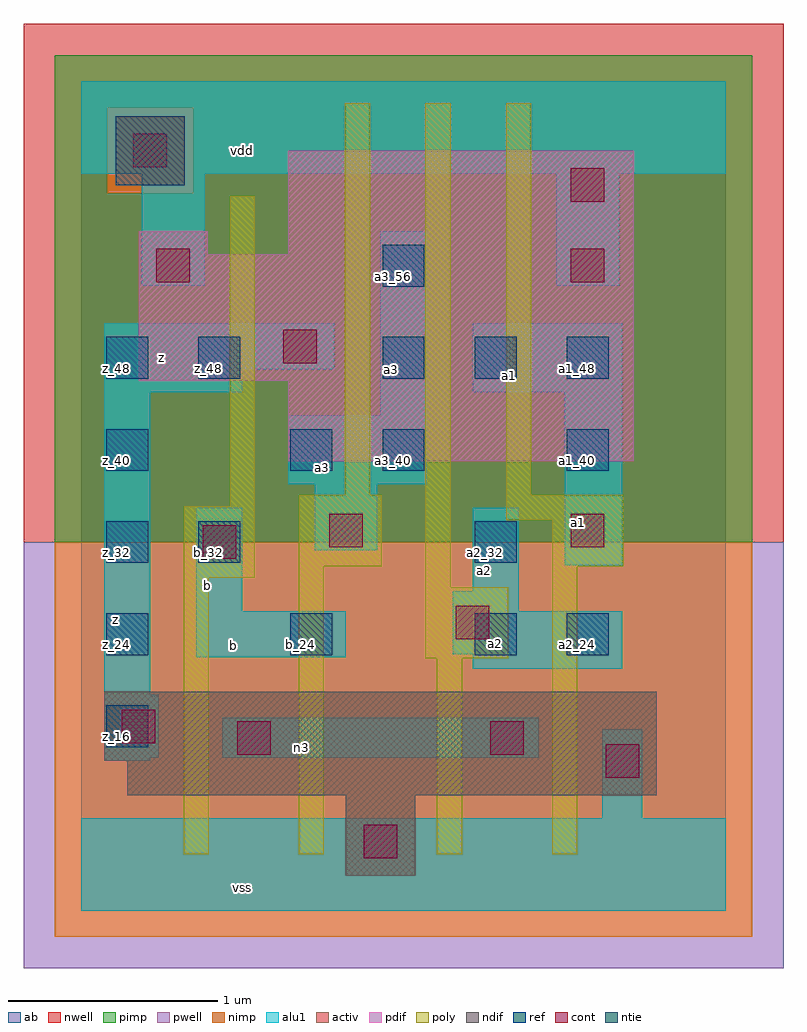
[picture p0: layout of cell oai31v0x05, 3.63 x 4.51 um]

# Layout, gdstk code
import gdstk
lib = gdstk.Library(unit=1e-6, precision=2.5e-09)
def R(c, l, rs):  # rectangles x0, y0, x1, y1
    for r in rs: c.add(gdstk.rectangle(r[:2], r[2:], *l))
def A(c, l, x, y, w, h, nx, ny, dx, dy):  # array of equal rectangles
    R(c, l, [(x+i*dx, y+j*dy, x+i*dx+w, y+j*dy+h) for i in range(nx) for j in range(ny)])
ndif = (3, 0)
pdif = (4, 0)
ntie = (5, 0)
ref = (24, 0)
cont = (25, 0)
pwell = (41, 0)
nwell = (42, 0)
activ = (43, 0)
pimp = (44, 0)
nimp = (45, 0)
poly = (46, 0)
alu1 = (49, 0)
ab = (63, 0)

oai31v0x05 = lib.new_cell('oai31v0x05')
R(oai31v0x05, ndif, [(1.265,0.165,1.595,0.55), (0.22,0.55,2.75,0.715), (0.11,0.715,2.75,1.045)])
R(oai31v0x05, pdif, [(0.99,2.145,2.64,2.53), (0.275,2.53,2.64,3.135), (0.275,3.135,0.605,3.245), (0.99,3.135,2.64,3.63)])
R(oai31v0x05, ntie, [(0.165,3.465,0.495,3.795)])
A(oai31v0x05, ref, 0.12, 1.22, 0.2, 0.2, 3, 1, 0.88, 0)
A(oai31v0x05, ref, 0.12, 1.66, 0.2, 0.2, 1, 3, 0, 0.44)
A(oai31v0x05, ref, 1.44, 2.54, 0.2, 0.2, 3, 1, 0.44, 0)
R(oai31v0x05, ref, [(0.12,0.78,0.32,0.98), (2.32,1.22,2.52,1.42), (0.56,1.66,0.76,1.86), (1.88,1.66,2.08,1.86), (1,2.1,1.2,2.3), (1.44,2.1,1.64,2.3), (2.32,2.1,2.52,2.3), (0.56,2.54,0.76,2.74), (1.44,2.98,1.64,3.18)])
R(oai31v0x05, cont, [(1.35,0.25,1.51,0.41), (2.505,0.635,2.665,0.795), (0.745,0.745,0.905,0.905), (1.955,0.745,2.115,0.905), (0.195,0.8,0.355,0.96), (1.79,1.295,1.95,1.455), (0.58,1.68,0.74,1.84), (1.185,1.735,1.345,1.895), (2.34,1.735,2.5,1.895), (0.965,2.615,1.125,2.775), (0.36,3,0.52,3.16), (2.34,3,2.5,3.16), (2.34,3.385,2.5,3.545), (0.25,3.55,0.41,3.71)])
R(oai31v0x05, pwell, [(-0.275,-0.275,3.355,1.76)])
R(oai31v0x05, nwell, [(-0.275,1.76,3.355,4.235)])
R(oai31v0x05, activ, [(1.265,0.165,1.595,0.55), (0.22,0.55,2.75,0.715), (0.11,0.715,2.75,1.045), (0.99,2.145,2.64,2.53), (0.275,2.53,2.64,3.135), (0.275,3.135,0.605,3.245), (0.99,3.135,2.64,3.63), (0.165,3.465,0.495,3.795)])
R(oai31v0x05, pimp, [(-0.125,1.76,3.205,3.425), (-0.125,3.425,0.125,3.835), (0.535,3.425,3.205,3.835), (-0.125,3.835,3.205,4.085)])
R(oai31v0x05, nimp, [(-0.125,-0.125,3.205,1.76), (0.125,3.425,0.535,3.835)])
R(oai31v0x05, poly, [(0.49,0.27,0.61,1.59), (1.04,0.27,1.16,1.645), (1.7,0.27,1.82,1.205), (2.25,0.27,2.37,1.645), (1.645,1.205,2.04,1.545), (1.645,1.545,1.765,3.855), (0.49,1.59,0.83,1.93), (1.04,1.645,1.435,1.985), (2.25,1.645,2.59,1.865), (2.03,1.865,2.59,1.985), (0.71,1.93,0.83,3.415), (1.26,1.985,1.38,3.855), (2.03,1.985,2.15,3.855)])
R(oai31v0x05, alu1, [(0,0,3.08,0.44), (2.49,0.44,2.68,0.865), (0.11,0.715,0.33,0.73), (0.11,0.73,0.37,1.03), (0.675,0.73,2.185,0.92), (0.11,1.03,0.33,2.475), (1.87,1.155,2.585,1.225), (0.55,1.21,1.265,1.43), (1.775,1.225,2.585,1.43), (0.55,1.43,0.77,1.925), (1.775,1.43,2.09,1.525), (1.87,1.525,2.09,1.925), (2.31,1.65,2.585,2.475), (1.115,1.72,1.415,2.035), (0.99,2.035,1.65,2.365), (1.43,2.365,1.65,3.245), (0.11,2.475,0.77,2.585), (1.87,2.475,2.585,2.805), (0.11,2.585,1.21,2.805), (0.29,2.985,0.59,3.52), (2.27,2.985,2.57,3.52), (0,3.52,3.08,3.96)])
R(oai31v0x05, ab, [(0,0,3.08,3.96)])
oai31v0x05.add(gdstk.Label('vss', (0.77,0.11), layer=49, texttype=0))
oai31v0x05.add(gdstk.Label('n3', (1.0525,0.7775), layer=49, texttype=0))
oai31v0x05.add(gdstk.Label('a2', (1.9775,1.275), layer=49, texttype=0))
oai31v0x05.add(gdstk.Label('b', (0.7275,1.265), layer=49, texttype=0))
oai31v0x05.add(gdstk.Label('a1', (2.3775,1.855), layer=49, texttype=0))
oai31v0x05.add(gdstk.Label('a2', (1.925,1.625), layer=49, texttype=0))
oai31v0x05.add(gdstk.Label('b', (0.605,1.5525), layer=49, texttype=0))
oai31v0x05.add(gdstk.Label('a3', (1.155,2.1175), layer=49, texttype=0))
oai31v0x05.add(gdstk.Label('a1', (2.0475,2.5575), layer=49, texttype=0))
oai31v0x05.add(gdstk.Label('a3', (1.485,2.585), layer=49, texttype=0))
oai31v0x05.add(gdstk.Label('z', (0.165,1.39), layer=49, texttype=0))
oai31v0x05.add(gdstk.Label('z', (0.385,2.64), layer=49, texttype=0))
oai31v0x05.add(gdstk.Label('vdd', (0.77,3.63), layer=49, texttype=0))
oai31v0x05.add(gdstk.Label('b_32', (0.61,1.71), layer=24, texttype=0))
oai31v0x05.add(gdstk.Label('z_48', (0.61,2.59), layer=24, texttype=0))
oai31v0x05.add(gdstk.Label('b_24', (1.05,1.27), layer=24, texttype=0))
oai31v0x05.add(gdstk.Label('a3_40', (1.05,2.15), layer=24, texttype=0))
oai31v0x05.add(gdstk.Label('a3_40', (1.49,2.15), layer=24, texttype=0))
oai31v0x05.add(gdstk.Label('a3_48', (1.49,2.59), layer=24, texttype=0))
oai31v0x05.add(gdstk.Label('a3_56', (1.49,3.03), layer=24, texttype=0))
oai31v0x05.add(gdstk.Label('a2_24', (1.93,1.27), layer=24, texttype=0))
oai31v0x05.add(gdstk.Label('a2_32', (1.93,1.71), layer=24, texttype=0))
oai31v0x05.add(gdstk.Label('a1_48', (1.93,2.59), layer=24, texttype=0))
oai31v0x05.add(gdstk.Label('z_16', (0.17,0.83), layer=24, texttype=0))
oai31v0x05.add(gdstk.Label('z_24', (0.17,1.27), layer=24, texttype=0))
oai31v0x05.add(gdstk.Label('z_32', (0.17,1.71), layer=24, texttype=0))
oai31v0x05.add(gdstk.Label('z_40', (0.17,2.15), layer=24, texttype=0))
oai31v0x05.add(gdstk.Label('z_48', (0.17,2.59), layer=24, texttype=0))
oai31v0x05.add(gdstk.Label('a2_24', (2.37,1.27), layer=24, texttype=0))
oai31v0x05.add(gdstk.Label('a1_40', (2.37,2.15), layer=24, texttype=0))
oai31v0x05.add(gdstk.Label('a1_48', (2.37,2.59), layer=24, texttype=0))

lib.write_gds('oai31v0x05.gds')
